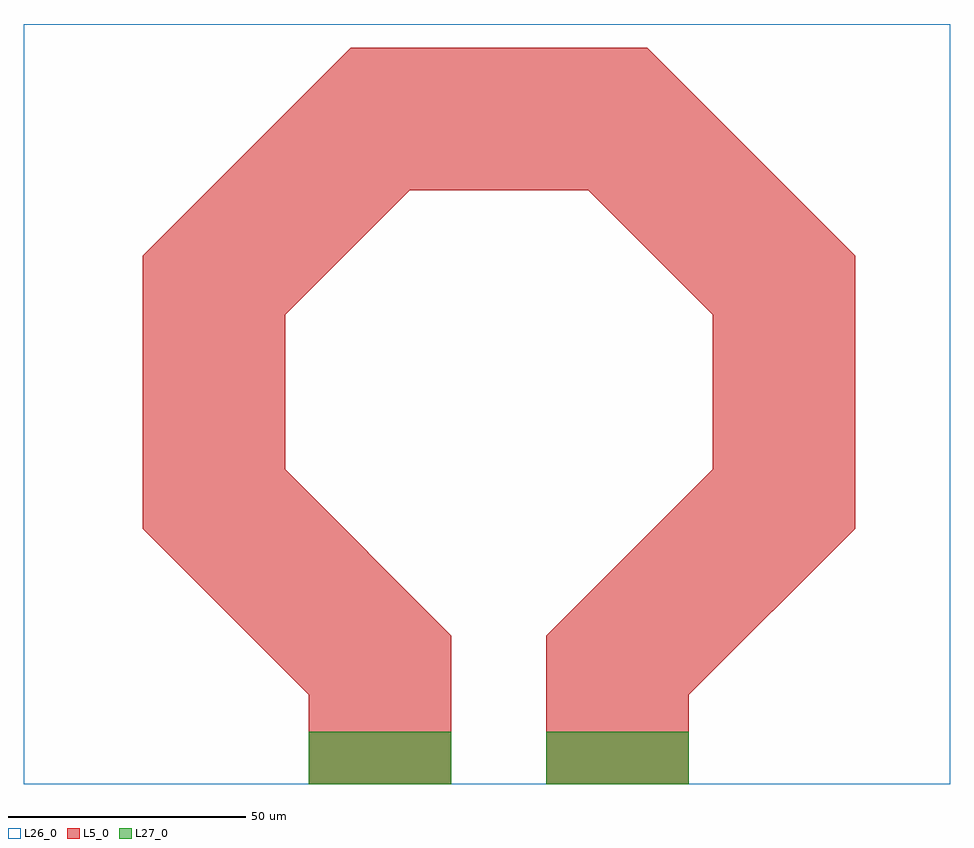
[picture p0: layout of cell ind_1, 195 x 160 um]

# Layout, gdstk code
import gdstk
lib = gdstk.Library(unit=1e-6, precision=5e-10)
def R(c, l, rs):  # rectangles x0, y0, x1, y1
    for r in rs: c.add(gdstk.rectangle(r[:2], r[2:], *l))
L5_0 = (5, 0)
L26_0 = (26, 0)
L27_0 = (27, 0)

ind_1 = lib.new_cell('ind_1')
R(ind_1, L26_0, [(-100,0,95,160)])
R(ind_1, L27_0, [(-40,0,-10,11), (10,0,40,11)])
ind_1.add(gdstk.FlexPath([(-25,0),(-25,25),(-60,60),(-60,105),(-25,140),(25,140),(60,105),(60,60),(25,25),(25,0)], 30, ends="flush", simple_path=True, layer=5, datatype=0))  # L5_0

lib.write_gds('ind_1.gds')
